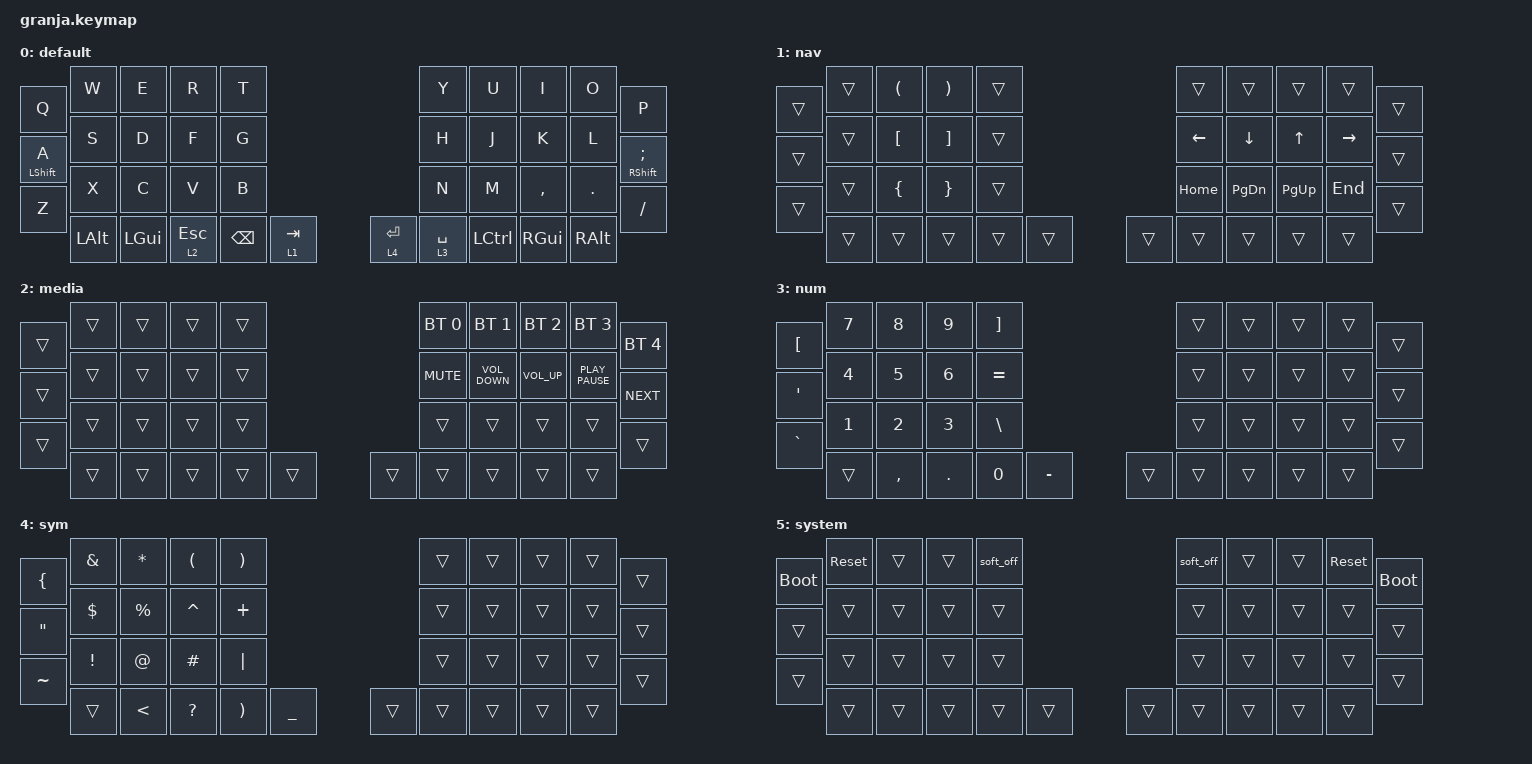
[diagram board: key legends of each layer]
#include <behaviors.dtsi>
#include <dt-bindings/zmk/bt.h>
#include <dt-bindings/zmk/keys.h>

&mt { tapping-term-ms = <400>; };

/ {
    combos {
        compatible = "zmk,combos";

        sys_left {
            bindings = <&sl 5>;
            key-positions = <30 31>;
        };

        sys_right {
            bindings = <&sl 5>;
            key-positions = <39 38>;
        };
    };

    keymap {
        compatible = "zmk,keymap";

        default {
            bindings = <
&kp Q             &kp W         &kp E         &kp R         &kp T                                  &kp Y        &kp U      &kp I          &kp O          &kp P
&mt LEFT_SHIFT A  &kp S         &kp D         &kp F         &kp G                                  &kp H        &kp J      &kp K          &kp L          &mt RIGHT_SHIFT SEMI
&kp Z             &kp X         &kp C         &kp V         &kp B                                  &kp N        &kp M      &kp COMMA      &kp PERIOD     &kp FSLH
                  &kp LEFT_ALT  &kp LEFT_GUI  &lt 2 ESCAPE  &kp BACKSPACE  &lt 1 TAB  &lt 4 ENTER  &lt 3 SPACE  &kp LCTRL  &kp RIGHT_GUI  &kp RIGHT_ALT
            >;
        };

        nav {
            bindings = <
&trans  &trans  &kp LEFT_PARENTHESIS  &kp RIGHT_PARENTHESIS  &trans                  &trans    &trans     &trans     &trans     &trans
&trans  &trans  &kp LEFT_BRACKET      &kp RIGHT_BRACKET      &trans                  &kp LEFT  &kp DOWN   &kp UP     &kp RIGHT  &trans
&trans  &trans  &kp LEFT_BRACE        &kp RIGHT_BRACE        &trans                  &kp HOME  &kp PG_DN  &kp PG_UP  &kp END    &trans
        &trans  &trans                &trans                 &trans  &trans  &trans  &trans    &trans     &trans     &trans
            >;
        };

        media {
            bindings = <
&trans  &trans  &trans  &trans  &trans                  &bt BT_SEL 0  &bt BT_SEL 1       &bt BT_SEL 2     &bt BT_SEL 3      &bt BT_SEL 4
&trans  &trans  &trans  &trans  &trans                  &kp K_MUTE    &kp C_VOLUME_DOWN  &kp C_VOLUME_UP  &kp K_PLAY_PAUSE  &kp K_NEXT
&trans  &trans  &trans  &trans  &trans                  &trans        &trans             &trans           &trans            &trans
        &trans  &trans  &trans  &trans  &trans  &trans  &trans        &trans             &trans           &trans
            >;
        };

        num {
            bindings = <
&kp LBKT   &kp N7  &kp N8     &kp N9   &kp RBKT                      &trans  &trans  &trans  &trans  &trans
&kp SQT    &kp N4  &kp N5     &kp N6   &kp EQUAL                     &trans  &trans  &trans  &trans  &trans
&kp GRAVE  &kp N1  &kp N2     &kp N3   &kp BSLH                      &trans  &trans  &trans  &trans  &trans
           &trans  &kp COMMA  &kp DOT  &kp N0     &kp MINUS  &trans  &trans  &trans  &trans  &trans
            >;
        };

        sym {
            bindings = <
&kp LEFT_BRACE     &kp AMPERSAND    &kp ASTERISK   &kp LEFT_PARENTHESIS  &kp RIGHT_PARENTHESIS                     &trans  &trans  &trans  &trans  &trans
&kp DOUBLE_QUOTES  &kp DOLLAR       &kp PERCENT    &kp CARET             &kp PLUS                                  &trans  &trans  &trans  &trans  &trans
&kp TILDE          &kp EXCLAMATION  &kp AT         &kp HASH              &kp PIPE                                  &trans  &trans  &trans  &trans  &trans
                   &trans           &kp LESS_THAN  &kp QUESTION          &kp RIGHT_PARENTHESIS  &kp UNDER  &trans  &trans  &trans  &trans  &trans
            >;
        };

        system {
            bindings = <
&bootloader  &sys_reset  &trans  &trans  &soft_off                  &soft_off  &trans  &trans  &sys_reset  &bootloader
&trans       &trans      &trans  &trans  &trans                     &trans     &trans  &trans  &trans      &trans
&trans       &trans      &trans  &trans  &trans                     &trans     &trans  &trans  &trans      &trans
             &trans      &trans  &trans  &trans     &trans  &trans  &trans     &trans  &trans  &trans
            >;
        };
    };
};
